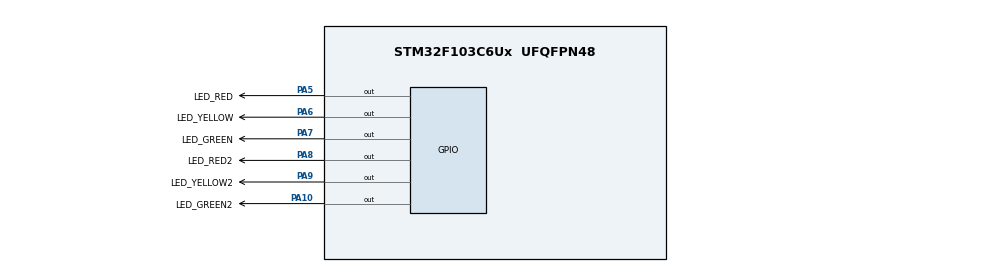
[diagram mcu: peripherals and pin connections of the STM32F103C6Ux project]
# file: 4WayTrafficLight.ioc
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Mcu.Family=STM32F1
Mcu.Name=STM32F103C6Ux
Mcu.Package=UFQFPN48
NVIC.PriorityGroup=NVIC_PRIORITYGROUP_4
PA10.GPIO_Label=LED_GREEN2
PA10.Signal=GPIO_Output
PA5.GPIO_Label=LED_RED
PA5.Signal=GPIO_Output
PA6.GPIO_Label=LED_YELLOW
PA6.Signal=GPIO_Output
PA7.GPIO_Label=LED_GREEN
PA7.Signal=GPIO_Output
PA8.GPIO_Label=LED_RED2
PA8.Signal=GPIO_Output
PA9.GPIO_Label=LED_YELLOW2
PA9.Signal=GPIO_Output
ProjectManager.HeapSize=0x200
ProjectManager.StackSize=0x400
ProjectManager.TargetToolchain=STM32CubeIDE
RCC.APB1Freq_Value=8000000
RCC.APB2Freq_Value=8000000
VP_SYS_VS_ND.Mode=No_Debug
board=custom

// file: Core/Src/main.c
/* USER CODE BEGIN Header */
/**
  ******************************************************************************
  * @file           : main.c
  * @brief          : Main program body
  ******************************************************************************
  * @attention
  *
  * <h2><center>&copy; Copyright (c) 2022 STMicroelectronics.
  * All rights reserved.</center></h2>
  *
  * This software component is licensed by ST under BSD 3-Clause license,
  * the "License"; You may not use this file except in compliance with the
  * License. You may obtain a copy of the License at:
  *                        opensource.org/licenses/BSD-3-Clause
  *
  ******************************************************************************
  */
/* USER CODE END Header */
#include "main.h"

void SystemClock_Config(void);
static void MX_GPIO_Init(void);

int main(void)
{

  /* MCU Configuration--------------------------------------------------------*/

  /* Reset of all peripherals, Initializes the Flash interface and the Systick. */
  HAL_Init();

  /* Configure the system clock */
  SystemClock_Config();

  /* Initialize all configured peripherals */
  MX_GPIO_Init();

  /* Infinite loop */
  /* USER CODE BEGIN WHILE */
  int count = 9;
  while (1)
  {
	  if(count < 0) count = 9;
	  	  if(count == 9)
	  	  {
	  		  HAL_GPIO_WritePin(LED_RED_GPIO_Port, LED_RED_Pin, SET);
	  		  HAL_GPIO_WritePin(LED_YELLOW_GPIO_Port, LED_YELLOW_Pin, RESET);
	  		  HAL_GPIO_WritePin(LED_GREEN2_GPIO_Port, LED_GREEN2_Pin, SET);
	  		  HAL_GPIO_WritePin(LED_RED2_GPIO_Port, LED_RED2_Pin, RESET);
	  	  }

	  	  if(count == 6)
	  	  {
	  		  HAL_GPIO_TogglePin(LED_GREEN2_GPIO_Port, LED_GREEN2_Pin);
	  		  HAL_GPIO_TogglePin(LED_YELLOW2_GPIO_Port, LED_YELLOW2_Pin);
	  	  }

	  	  if(count == 4)
	  	  {
	  		  HAL_GPIO_TogglePin(LED_RED_GPIO_Port, LED_RED_Pin);
	  		  HAL_GPIO_TogglePin(LED_GREEN_GPIO_Port, LED_GREEN_Pin);
	  		  HAL_GPIO_TogglePin(LED_YELLOW2_GPIO_Port, LED_YELLOW2_Pin);
	  		  HAL_GPIO_TogglePin(LED_RED2_GPIO_Port, LED_RED2_Pin);
	  	  }
	  	  if(count == 1)
	  	  {
	  		  HAL_GPIO_TogglePin(LED_GREEN_GPIO_Port, LED_GREEN_Pin);
	  		  HAL_GPIO_TogglePin(LED_YELLOW_GPIO_Port, LED_YELLOW_Pin);
	  	  }
	  	  count--;
	  	  HAL_Delay(1000);
    /* USER CODE END WHILE */

  }
}

void SystemClock_Config(void)
{
  RCC_OscInitTypeDef RCC_OscInitStruct = {0};
  RCC_ClkInitTypeDef RCC_ClkInitStruct = {0};

  /** Initializes the RCC Oscillators according to the specified parameters
  * in the RCC_OscInitTypeDef structure.
  */
  RCC_OscInitStruct.OscillatorType = RCC_OSCILLATORTYPE_HSI;
  RCC_OscInitStruct.HSIState = RCC_HSI_ON;
  RCC_OscInitStruct.HSICalibrationValue = RCC_HSICALIBRATION_DEFAULT;
  RCC_OscInitStruct.PLL.PLLState = RCC_PLL_NONE;
  if (HAL_RCC_OscConfig(&RCC_OscInitStruct) != HAL_OK)
  {
    Error_Handler();
  }
  /** Initializes the CPU, AHB and APB buses clocks
  */
  RCC_ClkInitStruct.ClockType = RCC_CLOCKTYPE_HCLK|RCC_CLOCKTYPE_SYSCLK
                              |RCC_CLOCKTYPE_PCLK1|RCC_CLOCKTYPE_PCLK2;
  RCC_ClkInitStruct.SYSCLKSource = RCC_SYSCLKSOURCE_HSI;
  RCC_ClkInitStruct.AHBCLKDivider = RCC_SYSCLK_DIV1;
  RCC_ClkInitStruct.APB1CLKDivider = RCC_HCLK_DIV1;
  RCC_ClkInitStruct.APB2CLKDivider = RCC_HCLK_DIV1;

  if (HAL_RCC_ClockConfig(&RCC_ClkInitStruct, FLASH_LATENCY_0) != HAL_OK)
  {
    Error_Handler();
  }
}

static void MX_GPIO_Init(void)
{
  GPIO_InitTypeDef GPIO_InitStruct = {0};

  /* GPIO Ports Clock Enable */
  __HAL_RCC_GPIOA_CLK_ENABLE();

  /*Configure GPIO pin Output Level */
  HAL_GPIO_WritePin(GPIOA, LED_RED_Pin|LED_YELLOW_Pin|LED_GREEN_Pin|LED_RED2_Pin
                          |LED_YELLOW2_Pin|LED_GREEN2_Pin, GPIO_PIN_RESET);

  /*Configure GPIO pins : LED_RED_Pin LED_YELLOW_Pin LED_GREEN_Pin LED_RED2_Pin
                           LED_YELLOW2_Pin LED_GREEN2_Pin */
  GPIO_InitStruct.Pin = LED_RED_Pin|LED_YELLOW_Pin|LED_GREEN_Pin|LED_RED2_Pin
                          |LED_YELLOW2_Pin|LED_GREEN2_Pin;
  GPIO_InitStruct.Mode = GPIO_MODE_OUTPUT_PP;
  GPIO_InitStruct.Pull = GPIO_NOPULL;
  GPIO_InitStruct.Speed = GPIO_SPEED_FREQ_LOW;
  HAL_GPIO_Init(GPIOA, &GPIO_InitStruct);

}

void Error_Handler(void)
{
  __disable_irq();
  while (1)
  {
  }
}

/************************ (C) COPYRIGHT STMicroelectronics *****END OF FILE****/
